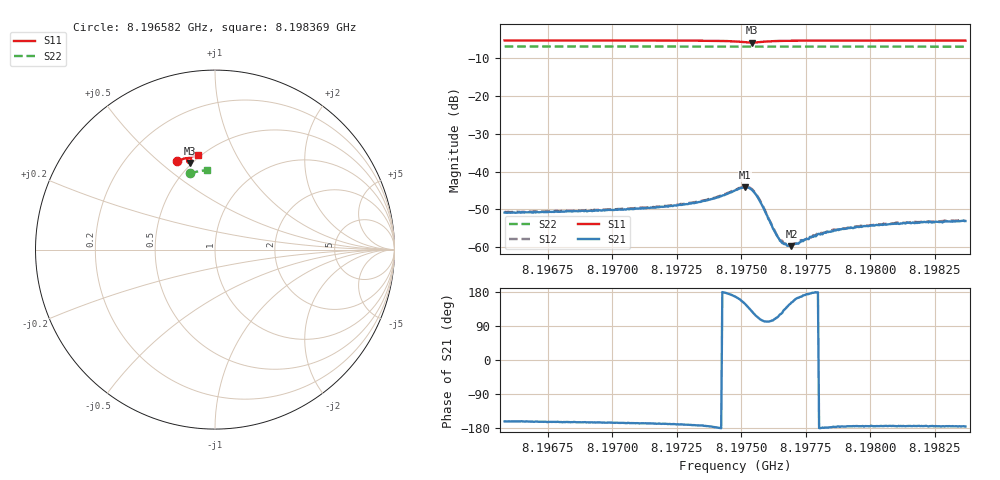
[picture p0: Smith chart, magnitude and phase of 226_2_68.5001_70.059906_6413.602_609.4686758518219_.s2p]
#  HZ  S  RI  R  50.00
! Rohde & Schwarz Vector Network Analyzer
! Rohde-Schwarz,ZNB20-2Port,1311601062101988,3.16
! Created: UTC 3/20/2024, 5:13:51 PM
! freq[Hz]  re:S11  im:S11  re:S21  im:S21  re:S12  im:S12  re:S22  im:S22
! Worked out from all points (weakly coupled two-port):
!   401 points, 8.196582 GHz to 8.198369 GHz, reference 50 ohm
!   highest |S21| = -44.15 dB at 8.197516 GHz (marker M1); lowest = -59.7 dB at 8.197694 GHz (marker M2)
!   lowest |S11| = -6.0 dB at 8.197543 GHz (marker M3), VSWR 3.03, Z = 24.3 + j31.5 ohm
!   |S11| at or under -10 dB: nowhere
!   |S22| runs from -7.1 to -7.0 dB; largest |S21 - S12| = 0.00029
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8.1965817e9  -0.2097 0.4936  -0.00274 -0.000896  -0.0028 -0.00082  -0.1411 0.4241
8.1968811e9  -0.189 0.5015  -0.00292 -0.000816  -0.00298 -0.000713  -0.1249 0.4288
8.1971805e9  -0.1668 0.5083  -0.00331 -0.000698  -0.0034 -0.000592  -0.1084 0.4326
8.1973503e9  -0.1509 0.5107  -0.00404 -0.000503  -0.00412 -0.000278  -0.099 0.4346
8.1974084e9  -0.1435 0.5104  -0.00457 -0.000117  -0.00468 5.15e-05  -0.0956 0.435
8.1974755e9  -0.1329 0.5035  -0.0055 0.00123  -0.00553 0.00148  -0.0918 0.4355
8.1975157e9  -0.1316 0.4907  -0.00522 0.00335  -0.00515 0.00362  -0.0899 0.4356
8.1975291e9  -0.135 0.4861  -0.0045 0.00413  -0.00441 0.00434  -0.089 0.4356
8.1975425e9  -0.1406 0.4834  -0.00341 0.00453  -0.00334 0.00477  -0.0884 0.4356
8.1975559e9  -0.1469 0.4841  -0.0023 0.00447  -0.00217 0.00467  -0.0878 0.4358
8.1975738e9  -0.1528 0.4883  -0.00116 0.0038  -0.00107 0.00393  -0.0872 0.4361
8.1976274e9  -0.1542 0.5031  -0.000503 0.00159  -0.000428 0.00165  -0.0841 0.4371
8.1976453e9  -0.1525 0.506  -0.000589 0.00118  -0.000532 0.00122  -0.083 0.4373
8.1976587e9  -0.151 0.5079  -0.000644 0.000936  -0.000645 0.00104  -0.0823 0.4374
8.1976676e9  -0.1498 0.5088  -0.000752 0.000801  -0.000733 0.000851  -0.082 0.4376
8.1976855e9  -0.148 0.5104  -0.00088 0.000591  -0.000874 0.000641  -0.0807 0.4378
8.1976944e9  -0.147 0.5112  -0.000914 0.000488  -0.000949 0.000544  -0.0802 0.4378
8.1977749e9  -0.139 0.5155  -0.00138 6.11e-05  -0.00137 0.000134  -0.0757 0.4386
8.1978598e9  -0.1315 0.5183  -0.00167 -0.000104  -0.00172 -2.29e-05  -0.0709 0.4391
8.1979492e9  -0.1241 0.5202  -0.00186 -0.000188  -0.00189 -9.08e-05  -0.0658 0.4399
8.1980743e9  -0.1146 0.5225  -0.00201 -0.000225  -0.00205 -0.000136  -0.0588 0.4407
8.1983692e9  -0.0929 0.5268  -0.00222 -0.000175  -0.00225 -7.94e-05  -0.0423 0.442
